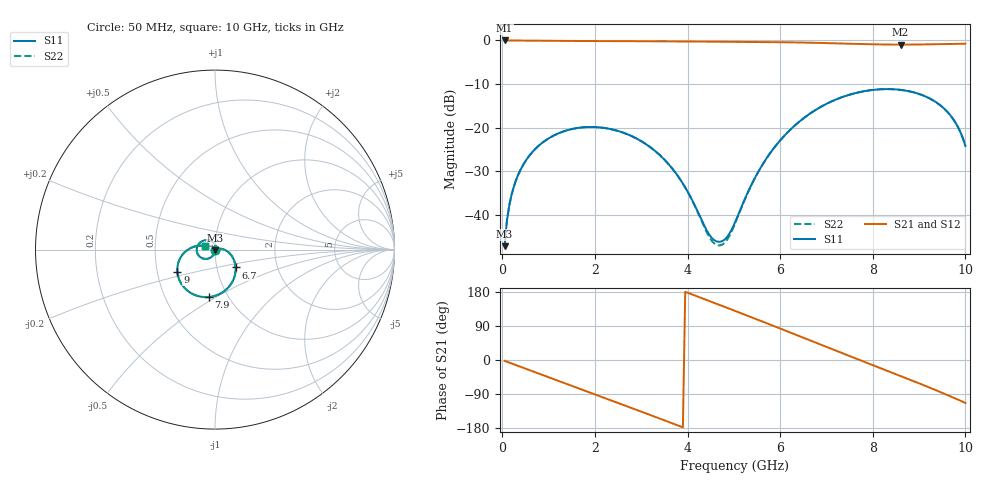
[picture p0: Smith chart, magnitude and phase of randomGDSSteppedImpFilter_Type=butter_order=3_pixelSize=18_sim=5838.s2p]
! freq	dB(S11)	phase(S11)	dB(S12)	phase(S12)
!  dB(S21)	phase(S21)	dB(S22)	phase(S22)
!S-par simulation data
#  GHz  S  DB  R 50
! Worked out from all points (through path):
!   200 points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, 50 MHz to 10 GHz, reference 50 ohm
!   highest |S21| = 0.00 dB at 50 MHz (marker M1); lowest = -1.0 dB at 8.6 GHz (marker M2)
!   group delay of S21, straight-line fit = 131 ps
!   lowest |S11| = -47.2 dB at 50 MHz (marker M3), VSWR 1.01, Z = 50 - j0.439 ohm
!   |S11| at or under -10 dB: start of sweep to end of sweep
!   |S22| runs from -47.2 to -11.2 dB; largest |S21 - S12| = 0
!   S11 on the Smith chart (normalised r, x): 50 MHz: 1.00, -0.01; 6.7 GHz: 1.23, -0.25; 7.9 GHz: 0.82, -0.46; 9 GHz: 0.64, -0.17; 10 GHz: 0.89, +0.04
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0.05  -47.15 -89.2  -0.00 -2.3  -0.00 -2.3  -47.15 -89.2
0.1  -41.30 -92.9  -0.01 -4.6  -0.01 -4.6  -41.30 -92.9
0.2  -35.37 -98.6  -0.02 -9.2  -0.02 -9.2  -35.37 -98.6
0.5  -27.67 -113.3  -0.04 -22.8  -0.04 -22.8  -27.67 -113.3
1.05  -22.14 -138.8  -0.08 -47.7  -0.08 -47.7  -22.14 -138.7
1.75  -19.91 -170.8  -0.13 -79.3  -0.13 -79.3  -19.91 -170.7
2.55  -20.92 152.4  -0.17 -115.6  -0.17 -115.6  -20.92 152.6
3.4  -26.27 111.4  -0.20 -154.6  -0.20 -154.6  -26.27 111.9
3.9  -32.80 82.8  -0.23 -177.7  -0.23 -177.7  -32.83 84.1
4.55  -45.56 10.2  -0.28 152.0  -0.28 152.0  -46.27 14.4
4.8  -45.66 -3.9  -0.30 140.2  -0.30 140.2  -46.40 0.1
5.05  -41.08 9.8  -0.32 128.5  -0.32 128.5  -41.32 12.9
5.45  -31.60 10.7  -0.35 109.5  -0.35 109.5  -31.63 11.7
5.9  -24.20 -5.1  -0.39 87.9  -0.39 87.9  -24.20 -4.7
6.7  -16.38 -40.8  -0.53 49.2  -0.53 49.2  -16.38 -40.8
7.3  -13.14 -69.0  -0.69 20.1  -0.69 20.1  -13.14 -69.1
7.9  -11.49 -97.2  -0.86 -8.7  -0.86 -8.7  -11.49 -97.3
8.35  -11.16 -118.3  -0.94 -30.2  -0.94 -30.2  -11.16 -118.5
8.6  -11.33 -130.1  -0.96 -42.2  -0.96 -42.2  -11.33 -130.3
9  -12.27 -149.3  -0.93 -61.6  -0.93 -61.6  -12.27 -149.5
9.65  -16.84 178.5  -0.80 -94.5  -0.80 -94.5  -16.84 178.0
10  -24.19 161.2  -0.75 -113.3  -0.75 -113.3  -24.21 159.9
